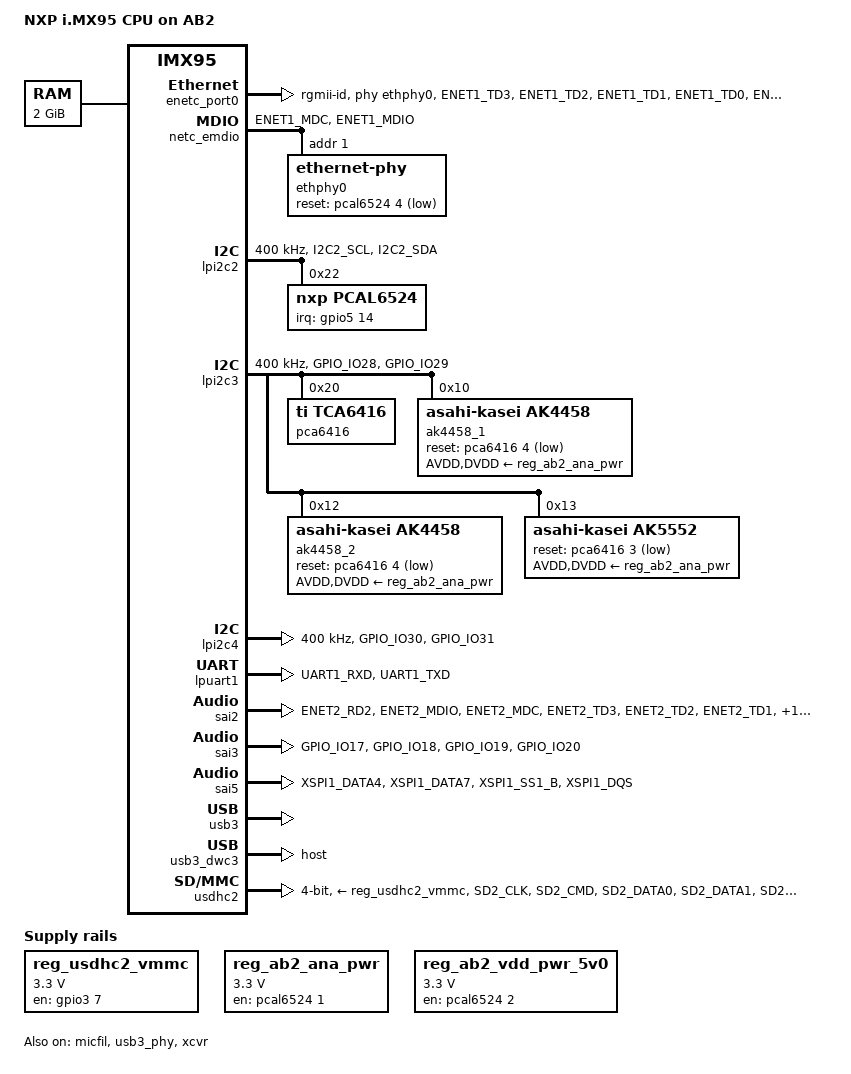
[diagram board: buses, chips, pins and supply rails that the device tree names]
// SPDX-License-Identifier: (GPL-2.0+ OR MIT)
/*
 * Copyright 2024 NXP
 */

/dts-v1/;

#include <dt-bindings/usb/pd.h>
#include "imx95.dtsi"

#define BRD_SM_CTRL_SD3_WAKE		6	/*!< PCAL6408A-0 */
#define BRD_SM_CTRL_PCIE1_WAKE		7	/*!< PCAL6408A-4 */
#define BRD_SM_CTRL_BT_WAKE		8	/*!< PCAL6408A-5 */
#define BRD_SM_CTRL_BUTTON		10	/*!< PCAL6408A-7 */

/ {
	model = "NXP i.MX95 CPU on AB2";
	compatible = "fsl,imx95-15x15-ab2", "fsl,imx95";

	aliases {
		ethernet0 = &enetc_port0;
	};

	chosen {
		stdout-path = &lpuart1;
		#address-cells = <2>;
		#size-cells = <2>;
	};

	memory@80000000 {
		device_type = "memory";
		reg = <0x0 0x80000000 0 0x80000000>;
	};

	reserved-memory {
		#address-cells = <2>;
		#size-cells = <2>;
		ranges;

		linux_cma: linux,cma {
			compatible = "shared-dma-pool";
			reusable;
			size = <0 0x3c000000>;
			alloc-ranges = <0 0x80000000 0 0x7F000000>;
			linux,cma-default;
		};

		vpu_boot: vpu_boot@a0000000 {
			reg = <0 0xa0000000 0 0x100000>;
			no-map;
		};
	};

	reg_usdhc2_vmmc: regulator-usdhc2 {
		compatible = "regulator-fixed";
		pinctrl-names = "default";
		pinctrl-0 = <&pinctrl_reg_usdhc2_vmmc>;
		regulator-name = "VDD_SD2_3V3";
		regulator-min-microvolt = <3300000>;
		regulator-max-microvolt = <3300000>;
		gpio = <&gpio3 7 GPIO_ACTIVE_HIGH>;
		off-on-delay-us = <12000>;
		enable-active-high;
	};

	reg_ab2_ana_pwr: regulator-ab2-ana-pwr {
		compatible = "regulator-fixed";
		regulator-name = "ab2_ana_pwr";
		regulator-min-microvolt = <3300000>;
		regulator-max-microvolt = <3300000>;
		gpio = <&pcal6524 1 GPIO_ACTIVE_HIGH>;
		enable-active-high;
		regulator-always-on;
	};

	reg_ab2_vdd_pwr_5v0: regulator-ab2-vdd-pwr-5v0 {
		compatible = "regulator-fixed";
		regulator-name = "ab2_vdd_pwr_5v0";
		regulator-min-microvolt = <3300000>;
		regulator-max-microvolt = <3300000>;
		gpio = <&pcal6524 2 GPIO_ACTIVE_HIGH>;
		enable-active-high;
		regulator-always-on;
	};

	sound-micfil {
		compatible = "fsl,imx-audio-card";
		model = "micfil-audio";
		pri-dai-link {
			link-name = "micfil hifi";
			format = "i2s";
			cpu {
				sound-dai = <&micfil>;
			};
		};
	};

	sound-xcvr {
		compatible = "fsl,imx-audio-card";
		model = "imx-audio-xcvr";
		pri-dai-link {
			link-name = "XCVR PCM";
			cpu {
				sound-dai = <&xcvr>;
			};
		};
	};

	sound-ak4458 {
		compatible = "fsl,imx-audio-card";
		model = "ak4458-audio";
		pri-dai-link {
			link-name = "akcodec";
			format = "i2s";
			fsl,mclk-equal-bclk;
			cpu {
				sound-dai = <&sai2>;
			};
			codec {
				sound-dai = <&ak4458_1>, <&ak4458_2>;
			};
		};
	};

	sound-ak5552 {
		compatible = "fsl,imx-audio-card";
		model = "ak5552-audio";
		pri-dai-link {
			link-name = "akcodec";
			format = "i2s";
			fsl,mclk-equal-bclk;
			cpu {
				sound-dai = <&sai3>;
			};
			codec {
				sound-dai = <&ak5552>;
			};
		};
	};
};

&enetc_port0 {
	pinctrl-names = "default";
	pinctrl-0 = <&pinctrl_enetc0>;
	phy-handle = <&ethphy0>;
	phy-mode = "rgmii-id";
	status = "okay";
};

&netc_emdio {
	pinctrl-names = "default";
	pinctrl-0 = <&pinctrl_emdio>;
	status = "okay";

	ethphy0: ethernet-phy@1 {
		reg = <1>;
		reset-gpios = <&pcal6524 4 GPIO_ACTIVE_LOW>;
		reset-assert-us = <10000>;
		reset-deassert-us = <80000>;
		realtek,clkout-disable;
	};
};

&lpi2c1 {
	clock-frequency = <400000>;
	pinctrl-names = "default";
	pinctrl-0 = <&pinctrl_lpi2c1>;
	status = "disabled";
};

&lpi2c2 {
	clock-frequency = <400000>;
	pinctrl-names = "default";
	pinctrl-0 = <&pinctrl_lpi2c2>;
	status = "okay";

	pcal6524: gpio@22 {
		compatible = "nxp,pcal6524";
		pinctrl-names = "default";
		pinctrl-0 = <&pinctrl_pcal6524>;
		reg = <0x22>;
		gpio-controller;
		#gpio-cells = <2>;
		interrupt-controller;
		#interrupt-cells = <2>;
		interrupt-parent = <&gpio5>;
		interrupts = <14 IRQ_TYPE_LEVEL_LOW>;
	};
};

&lpi2c3 {
	clock-frequency = <400000>;
	pinctrl-names = "default";
	pinctrl-0 = <&pinctrl_lpi2c3>;
	status = "okay";

	pca6416: gpio@20 {
		compatible = "ti,tca6416";
		reg = <0x20>;
		gpio-controller;
		#gpio-cells = <2>;
	};

	ak4458_1: ak4458@10 {
		#sound-dai-cells = <0>;
		sound-name-prefix = "0";
		compatible = "asahi-kasei,ak4458";
		reg = <0x10>;
		reset-gpios = <&pca6416 4 GPIO_ACTIVE_LOW>;
		AVDD-supply = <&reg_ab2_ana_pwr>;
		DVDD-supply = <&reg_ab2_ana_pwr>;
	};

	ak4458_2: ak4458@12 {
		#sound-dai-cells = <0>;
		sound-name-prefix = "1";
		compatible = "asahi-kasei,ak4458";
		reg = <0x12>;
		reset-gpios = <&pca6416 4 GPIO_ACTIVE_LOW>;
		AVDD-supply = <&reg_ab2_ana_pwr>;
		DVDD-supply = <&reg_ab2_ana_pwr>;
	};

	ak4458_3: ak4458@11 {
		#sound-dai-cells = <0>;
		compatible = "asahi-kasei,ak4458";
		reg = <0x11>;
		reset-gpios = <&pca6416 4 GPIO_ACTIVE_LOW>;
		AVDD-supply = <&reg_ab2_ana_pwr>;
		DVDD-supply = <&reg_ab2_ana_pwr>;
		status = "disabled";
	};

	ak5552: ak5552@13 {
		#sound-dai-cells = <0>;
		compatible = "asahi-kasei,ak5552";
		reg = <0x13>;
		reset-gpios = <&pca6416 3 GPIO_ACTIVE_LOW>;
		AVDD-supply = <&reg_ab2_ana_pwr>;
		DVDD-supply = <&reg_ab2_ana_pwr>;
	};
};

&lpi2c4 {
	clock-frequency = <400000>;
	pinctrl-names = "default";
	pinctrl-0 = <&pinctrl_lpi2c4>;
	status = "okay";

};

&lpuart1 {
	/* console */
	pinctrl-names = "default";
	pinctrl-0 = <&pinctrl_uart1>;
	status = "okay";
};

&micfil {
	#sound-dai-cells = <0>;
	pinctrl-names = "default";
	pinctrl-0 = <&pinctrl_pdm>;
	assigned-clocks = <&scmi_clk IMX95_CLK_AUDIOPLL1_VCO>,
			  <&scmi_clk IMX95_CLK_AUDIOPLL2_VCO>,
			  <&scmi_clk IMX95_CLK_AUDIOPLL1>,
			  <&scmi_clk IMX95_CLK_AUDIOPLL2>,
			  <&scmi_clk IMX95_CLK_PDM>;
	assigned-clock-parents = <0>, <0>, <0>, <0>,
				 <&scmi_clk IMX95_CLK_AUDIOPLL1>;
	assigned-clock-rates = <3932160000>,
			       <3612672000>, <393216000>,
			       <361267200>, <49152000>;
	status = "okay";
};

&sai2 {
	#sound-dai-cells = <0>;
	pinctrl-names = "default";
	pinctrl-0 = <&pinctrl_sai2>;
	clocks = <&scmi_clk IMX95_CLK_BUSNETCMIX>, <&dummy>,
		 <&scmi_clk IMX95_CLK_SAI2>, <&dummy>,
		 <&dummy>, <&scmi_clk IMX95_CLK_AUDIOPLL1>,
		 <&scmi_clk IMX95_CLK_AUDIOPLL2>;
	clock-names = "bus", "mclk0", "mclk1", "mclk2", "mclk3", "pll8k", "pll11k";
	assigned-clocks = <&scmi_clk IMX95_CLK_AUDIOPLL1_VCO>,
			  <&scmi_clk IMX95_CLK_AUDIOPLL2_VCO>,
			  <&scmi_clk IMX95_CLK_AUDIOPLL1>,
			  <&scmi_clk IMX95_CLK_AUDIOPLL2>,
			  <&scmi_clk IMX95_CLK_SAI2>;
	assigned-clock-parents = <0>, <0>, <0>, <0>,
				 <&scmi_clk IMX95_CLK_AUDIOPLL1>;
	assigned-clock-rates = <3932160000>,
			       <3612672000>, <393216000>,
			       <361267200>, <12288000>;
	fsl,sai-mclk-direction-output;
	fsl,sai-asynchronous;
	status = "okay";
};

&sai3 {
	#sound-dai-cells = <0>;
	pinctrl-names = "default";
	pinctrl-0 = <&pinctrl_sai3>;
	clocks = <&scmi_clk IMX95_CLK_BUSNETCMIX>, <&dummy>,
		 <&scmi_clk IMX95_CLK_SAI3>, <&dummy>,
		 <&dummy>, <&scmi_clk IMX95_CLK_AUDIOPLL1>,
		 <&scmi_clk IMX95_CLK_AUDIOPLL2>;
	clock-names = "bus", "mclk0", "mclk1", "mclk2", "mclk3", "pll8k", "pll11k";
	assigned-clocks = <&scmi_clk IMX95_CLK_AUDIOPLL1_VCO>,
			  <&scmi_clk IMX95_CLK_AUDIOPLL2_VCO>,
			  <&scmi_clk IMX95_CLK_AUDIOPLL1>,
			  <&scmi_clk IMX95_CLK_AUDIOPLL2>,
			  <&scmi_clk IMX95_CLK_SAI3>;
	assigned-clock-parents = <0>, <0>, <0>, <0>,
				 <&scmi_clk IMX95_CLK_AUDIOPLL1>;
	assigned-clock-rates = <3932160000>,
			       <3612672000>, <393216000>,
			       <361267200>, <12288000>;
	fsl,sai-mclk-direction-output;
	fsl,sai-asynchronous;
	status = "okay";
};

&sai5 {
	#sound-dai-cells = <0>;
	pinctrl-names = "default";
	pinctrl-0 = <&pinctrl_sai5>;
	assigned-clocks = <&scmi_clk IMX95_CLK_AUDIOPLL1_VCO>,
			  <&scmi_clk IMX95_CLK_AUDIOPLL2_VCO>,
			  <&scmi_clk IMX95_CLK_AUDIOPLL1>,
			  <&scmi_clk IMX95_CLK_AUDIOPLL2>,
			  <&scmi_clk IMX95_CLK_SAI5>;
	assigned-clock-parents = <0>, <0>, <0>, <0>,
				 <&scmi_clk IMX95_CLK_AUDIOPLL1>;
	assigned-clock-rates = <3932160000>,
			       <3612672000>, <393216000>,
			       <361267200>, <12288000>;
	fsl,sai-mclk-direction-output;
	status = "okay";
};

&scmi_iomuxc {
	pinctrl_emdio: emdiogrp {
		fsl,pins = <
			IMX95_PAD_ENET1_MDC__NETCMIX_TOP_NETC_MDC		0x57e
			IMX95_PAD_ENET1_MDIO__NETCMIX_TOP_NETC_MDIO		0x97e
		>;
	};

	pinctrl_enetc0: enetc0grp {
		fsl,pins = <
			IMX95_PAD_ENET1_TD3__NETCMIX_TOP_ETH0_RGMII_TD3		0x57e
			IMX95_PAD_ENET1_TD2__NETCMIX_TOP_ETH0_RGMII_TD2		0x57e
			IMX95_PAD_ENET1_TD1__NETCMIX_TOP_ETH0_RGMII_TD1		0x57e
			IMX95_PAD_ENET1_TD0__NETCMIX_TOP_ETH0_RGMII_TD0		0x57e
			IMX95_PAD_ENET1_TX_CTL__NETCMIX_TOP_ETH0_RGMII_TX_CTL	0x57e
			IMX95_PAD_ENET1_TXC__NETCMIX_TOP_ETH0_RGMII_TX_CLK	0x5fe
			IMX95_PAD_ENET1_RX_CTL__NETCMIX_TOP_ETH0_RGMII_RX_CTL	0x57e
			IMX95_PAD_ENET1_RXC__NETCMIX_TOP_ETH0_RGMII_RX_CLK	0x5fe
			IMX95_PAD_ENET1_RD0__NETCMIX_TOP_ETH0_RGMII_RD0		0x57e
			IMX95_PAD_ENET1_RD1__NETCMIX_TOP_ETH0_RGMII_RD1		0x57e
			IMX95_PAD_ENET1_RD2__NETCMIX_TOP_ETH0_RGMII_RD2		0x57e
			IMX95_PAD_ENET1_RD3__NETCMIX_TOP_ETH0_RGMII_RD3		0x57e
		>;
	};

	pinctrl_lpi2c1: lpi2c1grp {
		fsl,pins = <
			IMX95_PAD_I2C1_SCL__AONMIX_TOP_LPI2C1_SCL	0x40000b9e
			IMX95_PAD_I2C1_SDA__AONMIX_TOP_LPI2C1_SDA	0x40000b9e
		>;
	};

	pinctrl_lpi2c2: lpi2c2grp {
		fsl,pins = <
			IMX95_PAD_I2C2_SCL__AONMIX_TOP_LPI2C2_SCL	0x40000b9e
			IMX95_PAD_I2C2_SDA__AONMIX_TOP_LPI2C2_SDA	0x40000b9e
		>;
	};

	pinctrl_lpi2c3: lpi2c3grp {
		fsl,pins = <
			IMX95_PAD_GPIO_IO28__LPI2C3_SDA			0x40000b9e
			IMX95_PAD_GPIO_IO29__LPI2C3_SCL			0x40000b9e
		>;
	};

	pinctrl_lpi2c4: lpi2c4grp {
		fsl,pins = <
			IMX95_PAD_GPIO_IO30__LPI2C4_SDA			0x40000b9e
			IMX95_PAD_GPIO_IO31__LPI2C4_SCL			0x40000b9e
		>;
	};

	pinctrl_sai2: sai2grp {
		fsl,pins = <
			IMX95_PAD_ENET2_RD2__NETCMIX_TOP_SAI2_MCLK			0x31e
			IMX95_PAD_ENET2_MDIO__NETCMIX_TOP_SAI2_RX_BCLK			0x31e
			IMX95_PAD_ENET2_MDC__NETCMIX_TOP_SAI2_RX_SYNC			0x31e
			IMX95_PAD_ENET2_TD3__NETCMIX_TOP_SAI2_RX_DATA_BIT0		0x31e
			IMX95_PAD_ENET2_TD2__NETCMIX_TOP_SAI2_RX_DATA_BIT1		0x31e
			IMX95_PAD_ENET2_TD1__NETCMIX_TOP_SAI2_RX_DATA_BIT2		0x31e
			IMX95_PAD_ENET2_TD0__NETCMIX_TOP_SAI2_RX_DATA_BIT3		0x31e
			IMX95_PAD_ENET2_TXC__NETCMIX_TOP_SAI2_TX_BCLK			0x31e
			IMX95_PAD_ENET2_TX_CTL__NETCMIX_TOP_SAI2_TX_SYNC		0x31e
			IMX95_PAD_ENET2_RX_CTL__NETCMIX_TOP_SAI2_TX_DATA_BIT0		0x31e
			IMX95_PAD_ENET2_RXC__NETCMIX_TOP_SAI2_TX_DATA_BIT1		0x31e
			IMX95_PAD_ENET2_RD0__NETCMIX_TOP_SAI2_TX_DATA_BIT2		0x31e
			IMX95_PAD_ENET2_RD1__NETCMIX_TOP_SAI2_TX_DATA_BIT3		0x31e
			IMX95_PAD_XSPI1_DATA0__NETCMIX_TOP_SAI2_TX_DATA_BIT4		0x31e
			IMX95_PAD_XSPI1_DATA1__NETCMIX_TOP_SAI2_TX_DATA_BIT5		0x31e
			IMX95_PAD_XSPI1_DATA2__NETCMIX_TOP_SAI2_TX_DATA_BIT6		0x31e
			IMX95_PAD_XSPI1_DATA3__NETCMIX_TOP_SAI2_TX_DATA_BIT7		0x31e
		>;
	};

	pinctrl_sai3: sai3grp {
		fsl,pins = <
			IMX95_PAD_GPIO_IO17__SAI3_MCLK				0x31e
			IMX95_PAD_GPIO_IO18__SAI3_RX_BCLK			0x31e
			IMX95_PAD_GPIO_IO19__SAI3_RX_SYNC			0x31e
			IMX95_PAD_GPIO_IO20__SAI3_RX_DATA_BIT0			0x31e
		>;
	};

	pinctrl_sai5: sai5grp {
		fsl,pins = <
			IMX95_PAD_XSPI1_DATA4__SAI5_TX_DATA_BIT0		0x31e
			IMX95_PAD_XSPI1_DATA7__SAI5_RX_DATA_BIT0		0x31e
			IMX95_PAD_XSPI1_SS1_B__SAI5_RX_BCLK			0x31e
			IMX95_PAD_XSPI1_DQS__SAI5_RX_SYNC			0x31e

		>;
	};

	pinctrl_pcal6524: pcal6524grp {
		fsl,pins = <
			IMX95_PAD_GPIO_IO34__GPIO5_IO_BIT14		0x31e
		>;
	};

	pinctrl_pdm: pdmgrp {
		fsl,pins = <
			IMX95_PAD_PDM_CLK__AONMIX_TOP_PDM_CLK				0x31e
			IMX95_PAD_PDM_BIT_STREAM0__AONMIX_TOP_PDM_BIT_STREAM_BIT0	0x31e
			IMX95_PAD_GPIO_IO06__AONMIX_TOP_PDM_BIT_STREAM_BIT1		0x31e
			IMX95_PAD_GPIO_IO12__AONMIX_TOP_PDM_BIT_STREAM_BIT2		0x31e
			IMX95_PAD_GPIO_IO13__AONMIX_TOP_PDM_BIT_STREAM_BIT3		0x31e
		>;
	};

	pinctrl_spdif: spdifgrp {
		fsl,pins = <
			IMX95_PAD_GPIO_IO22__SPDIF_IN				0x31e
			IMX95_PAD_GPIO_IO23__SPDIF_OUT				0x31e
		>;
	};

	pinctrl_uart1: uart1grp {
		fsl,pins = <
			IMX95_PAD_UART1_RXD__AONMIX_TOP_LPUART1_RX      0x31e
			IMX95_PAD_UART1_TXD__AONMIX_TOP_LPUART1_TX      0x31e
		>;
	};

	pinctrl_reg_usdhc2_vmmc: regusdhc2vmmcgrp {
		fsl,pins = <
			IMX95_PAD_SD2_RESET_B__GPIO3_IO_BIT7			0x31e
		>;
	};

	pinctrl_usdhc2_gpio: usdhc2gpiogrp {
		fsl,pins = <
			IMX95_PAD_SD2_CD_B__GPIO3_IO_BIT0			0x31e
		>;
	};

	pinctrl_usdhc2: usdhc2grp {
		fsl,pins = <
			IMX95_PAD_SD2_CLK__USDHC2_CLK				0x158e
			IMX95_PAD_SD2_CMD__USDHC2_CMD				0x138e
			IMX95_PAD_SD2_DATA0__USDHC2_DATA0			0x138e
			IMX95_PAD_SD2_DATA1__USDHC2_DATA1			0x138e
			IMX95_PAD_SD2_DATA2__USDHC2_DATA2			0x138e
			IMX95_PAD_SD2_DATA3__USDHC2_DATA3			0x138e
			IMX95_PAD_SD2_VSELECT__USDHC2_VSELECT			0x51e
		>;
	};

	pinctrl_usdhc2_100mhz: usdhc2-100mhzgrp {
		fsl,pins = <
			IMX95_PAD_SD2_CLK__USDHC2_CLK				0x158e
			IMX95_PAD_SD2_CMD__USDHC2_CMD				0x138e
			IMX95_PAD_SD2_DATA0__USDHC2_DATA0			0x138e
			IMX95_PAD_SD2_DATA1__USDHC2_DATA1			0x138e
			IMX95_PAD_SD2_DATA2__USDHC2_DATA2			0x138e
			IMX95_PAD_SD2_DATA3__USDHC2_DATA3			0x138e
			IMX95_PAD_SD2_VSELECT__USDHC2_VSELECT			0x51e
		>;
	};

	pinctrl_usdhc2_200mhz: usdhc2-200mhzgrp {
		fsl,pins = <
			IMX95_PAD_SD2_CLK__USDHC2_CLK				0x15fe
			IMX95_PAD_SD2_CMD__USDHC2_CMD				0x13fe
			IMX95_PAD_SD2_DATA0__USDHC2_DATA0			0x13fe
			IMX95_PAD_SD2_DATA1__USDHC2_DATA1			0x13fe
			IMX95_PAD_SD2_DATA2__USDHC2_DATA2			0x13fe
			IMX95_PAD_SD2_DATA3__USDHC2_DATA3			0x13fe
			IMX95_PAD_SD2_VSELECT__USDHC2_VSELECT			0x51e
		>;
	};
};

&scmi_misc {
	wakeup-sources = <BRD_SM_CTRL_SD3_WAKE		1
			  BRD_SM_CTRL_PCIE1_WAKE	1
			  BRD_SM_CTRL_BT_WAKE		1
			  BRD_SM_CTRL_BUTTON		1>;
};

&usb3 {
	status = "okay";
};

&usb3_phy {
	status = "okay";
};

&usb3_dwc3 {
	dr_mode = "host";
	hnp-disable;
	srp-disable;
	adp-disable;
	snps,dis-u1-entry-quirk;
	snps,dis-u2-entry-quirk;
	status = "okay";
};

&usdhc2 {
	pinctrl-names = "default", "state_100mhz", "state_200mhz", "sleep";
	pinctrl-0 = <&pinctrl_usdhc2>, <&pinctrl_usdhc2_gpio>;
	pinctrl-1 = <&pinctrl_usdhc2_100mhz>, <&pinctrl_usdhc2_gpio>;
	pinctrl-2 = <&pinctrl_usdhc2_200mhz>, <&pinctrl_usdhc2_gpio>;
	pinctrl-3 = <&pinctrl_usdhc2>, <&pinctrl_usdhc2_gpio>;
	cd-gpios = <&gpio3 00 GPIO_ACTIVE_LOW>;
	vmmc-supply = <&reg_usdhc2_vmmc>;
	bus-width = <4>;
	status = "okay";
};

&vpuctrl {
	boot = <&vpu_boot>;
	sram = <&sram1>;
};

&xcvr {
	#sound-dai-cells = <0>;
	pinctrl-names = "default";
	pinctrl-0 = <&pinctrl_spdif>;
	clocks = <&scmi_clk IMX95_CLK_BUSWAKEUP>,
		 <&scmi_clk IMX95_CLK_SPDIF>,
		 <&dummy>,
		 <&scmi_clk IMX95_CLK_AUDIOXCVR>,
		 <&scmi_clk IMX95_CLK_AUDIOPLL1>,
		 <&scmi_clk IMX95_CLK_AUDIOPLL2>;
	clock-names = "ipg", "phy", "spba", "pll_ipg", "pll8k", "pll11k";
	assigned-clocks = <&scmi_clk IMX95_CLK_AUDIOPLL1_VCO>,
			  <&scmi_clk IMX95_CLK_AUDIOPLL2_VCO>,
			  <&scmi_clk IMX95_CLK_AUDIOPLL1>,
			  <&scmi_clk IMX95_CLK_AUDIOPLL2>,
			  <&scmi_clk IMX95_CLK_SPDIF>,
			  <&scmi_clk IMX95_CLK_AUDIOXCVR>;
	assigned-clock-parents = <0>, <0>, <0>, <0>,
				 <&scmi_clk IMX95_CLK_AUDIOPLL1>,
				 <&scmi_clk IMX95_CLK_SYSPLL1_PFD1_DIV2>;
	assigned-clock-rates = <3932160000>, <3612672000>,
			       <393216000>, <361267200>,
			       <12288000>, <0>;
	status = "okay";
};
